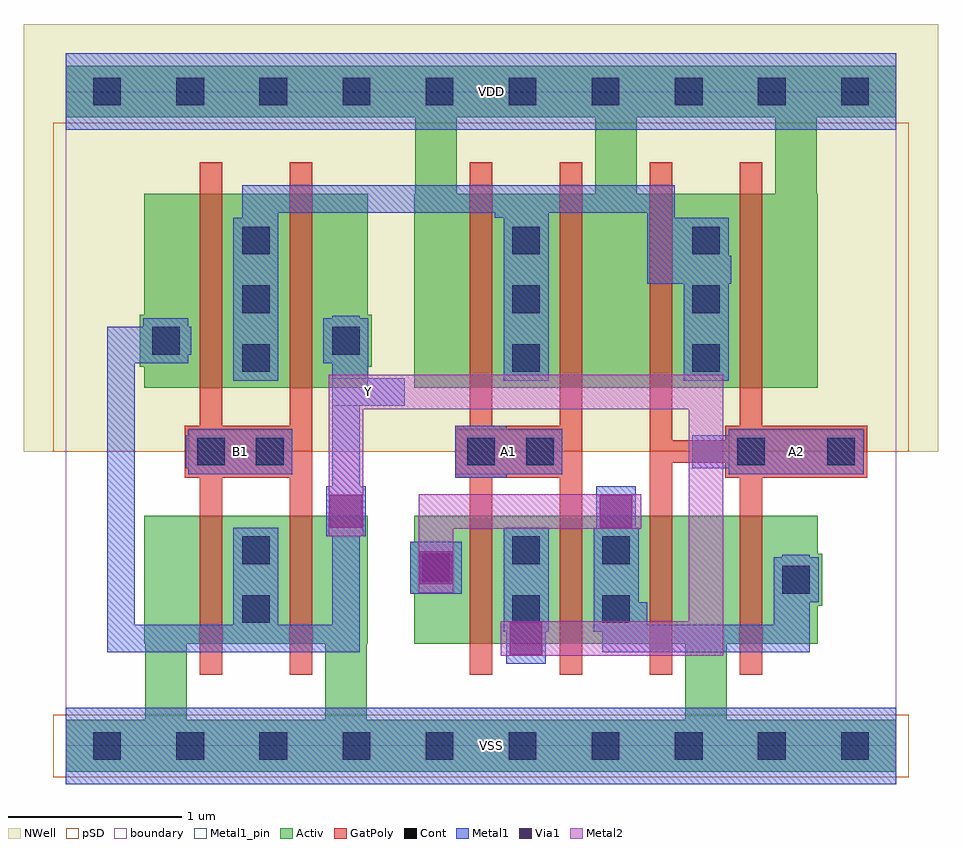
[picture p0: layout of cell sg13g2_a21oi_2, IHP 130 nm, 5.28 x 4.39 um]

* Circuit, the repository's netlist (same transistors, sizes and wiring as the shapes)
.SUBCKT sg13g2_a21oi_2 Y A1 A2 B1 VDD VSS
*.PININFO A1:I A2:I B1:I Y:O VDD:B VSS:B
MN0 Y B1 VSS VSS sg13_lv_nmos w=1.48u l=130.00n ng=2
MN2 net2 A2 VSS VSS sg13_lv_nmos w=1.48u l=130.00n ng=2
MN1 Y A1 net2 VSS sg13_lv_nmos w=1.48u l=130.00n ng=2
MP2 Y B1 net1 VDD sg13_lv_pmos w=2.24u l=130.00n ng=2
MP1 net1 A2 VDD VDD sg13_lv_pmos w=2.24u l=130.00n ng=2
MP0 net1 A1 VDD VDD sg13_lv_pmos w=2.24u l=130.00n ng=2
.ENDS

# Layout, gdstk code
import gdstk
lib = gdstk.Library(unit=1e-6, precision=1e-09)
def R(c, l, rs):  # rectangles x0, y0, x1, y1
    for r in rs: c.add(gdstk.rectangle(r[:2], r[2:], *l))
def A(c, l, x, y, w, h, nx, ny, dx, dy):  # array of equal rectangles
    R(c, l, [(x+i*dx, y+j*dy, x+i*dx+w, y+j*dy+h) for i in range(nx) for j in range(ny)])
def P(c, l, *ps):  # polygons
    for p in ps: c.add(gdstk.Polygon(p, *l))
Activ = (1, 0)
GatPoly = (5, 0)
Cont = (6, 0)
Metal1 = (8, 0)
Metal1_pin = (8, 2)
Metal2 = (10, 0)
pSD = (14, 0)
Via1 = (19, 0)
NWell = (31, 0)
boundary = (189, 4)

sg13g2_a21oi_2 = lib.new_cell('sg13g2_a21oi_2')
P(sg13g2_a21oi_2, Activ, [(0.7,0.59),(0.7,1.33),(0.455,1.33),(0.455,0.59),(0.46,0.59),(0.46,0.15),(0,0.15),(0,-0.15),(0.7,-0.15),(0.7,0.59),(1.5,0.59),(1.5,0.15),(0.7,0.15),(0.7,-0.15),(4.8,-0.15),(4.8,0.15),(3.82,0.15),(3.82,0.59),(4.345,0.59),(4.345,0.81),(4.37,0.81),(4.37,1.11),(4.345,1.11),(4.345,1.33),(2.015,1.33),(2.015,1.18),(1.99,1.18),(1.99,0.88),(2.015,0.88),(2.015,0.59),(3.58,0.59),(3.58,0.15),(1.74,0.15),(1.74,0.59),(1.745,0.59),(1.745,1.33),(0.7,1.33)],
  [(2.02,3.19),(2.26,3.19),(2.26,3.63),(3.06,3.63),(3.06,3.19),(3.3,3.19),(3.3,3.63),(4.1,3.63),(4.1,3.19),(4.34,3.19),(4.34,3.63),(4.8,3.63),(4.8,3.93),(0,3.93),(0,3.63),(2.02,3.63),(2.02,3.19),(2.015,3.19),(2.015,2.07),(4.345,2.07),(4.345,3.19)],
  [(0.43,2.19),(0.455,2.19),(0.455,2.07),(1.745,2.07),(1.745,2.19),(1.77,2.19),(1.77,2.49),(1.745,2.49),(1.745,3.19),(0.455,3.19),(0.455,2.49),(0.43,2.49)])
P(sg13g2_a21oi_2, GatPoly, [(0.69,1.55),(0.775,1.55),(0.775,0.41),(0.905,0.41),(0.905,1.55),(1.295,1.55),(1.295,0.41),(1.425,0.41),(1.425,3.37),(1.295,3.37),(1.295,1.85),(0.905,1.85),(0.905,3.37),(0.775,3.37),(0.775,1.85),(0.69,1.85)],
  [(2.25,1.55),(2.335,1.55),(2.335,0.41),(2.465,0.41),(2.465,1.55),(2.855,1.55),(2.855,0.41),(2.985,0.41),(2.985,3.37),(2.855,3.37),(2.855,1.85),(2.465,1.85),(2.465,3.37),(2.335,3.37),(2.335,1.85),(2.25,1.85)],
  [(3.375,0.41),(3.505,0.41),(3.505,1.635),(3.81,1.635),(3.81,1.55),(3.895,1.55),(3.895,0.41),(4.025,0.41),(4.025,1.55),(4.63,1.55),(4.63,1.85),(4.025,1.85),(4.025,3.37),(3.895,3.37),(3.895,1.85),(3.81,1.85),(3.81,1.765),(3.505,1.765),(3.505,3.37),(3.375,3.37)])
A(sg13g2_a21oi_2, Cont, 0.16, -0.08, 0.16, 0.16, 10, 2, 0.48, 3.78)
A(sg13g2_a21oi_2, Cont, 1.02, 2.16, 0.16, 0.16, 1, 3, 0, 0.34)
A(sg13g2_a21oi_2, Cont, 2.58, 2.16, 0.16, 0.16, 1, 3, 0, 0.34)
A(sg13g2_a21oi_2, Cont, 3.62, 2.16, 0.16, 0.16, 1, 3, 0, 0.34)
R(sg13g2_a21oi_2, Cont, [(1.02,0.71,1.18,0.87), (2.58,0.71,2.74,0.87), (3.1,0.71,3.26,0.87), (4.14,0.88,4.3,1.04), (2.06,0.95,2.22,1.11), (1.02,1.05,1.18,1.21), (2.58,1.05,2.74,1.21), (3.1,1.05,3.26,1.21), (0.76,1.62,0.92,1.78), (1.1,1.62,1.26,1.78), (2.32,1.62,2.48,1.78), (2.66,1.62,2.82,1.78), (3.88,1.62,4.04,1.78), (4.4,1.62,4.56,1.78), (0.5,2.26,0.66,2.42), (1.54,2.26,1.7,2.42)])
R(sg13g2_a21oi_2, Metal1, [(0,-0.22,4.8,0.22), (1.99,0.88,2.29,1.18), (0,3.56,4.8,4)])
P(sg13g2_a21oi_2, Metal1, [(0.24,0.54),(1.7,0.54),(1.7,1.21),(1.735,1.21),(1.735,1.5),(1.7,1.5),(1.7,1.965),(1.96,1.965),(1.96,2.125),(1.75,2.125),(1.75,2.47),(1.7,2.47),(1.7,2.485),(1.54,2.485),(1.54,2.47),(1.49,2.47),(1.49,2.21),(1.54,2.21),(1.54,1.5),(1.505,1.5),(1.505,1.21),(1.54,1.21),(1.54,0.7),(1.23,0.7),(1.23,1.26),(0.97,1.26),(0.97,0.7),(0.4,0.7),(0.4,2.21),(0.71,2.21),(0.71,2.26),(0.725,2.26),(0.725,2.42),(0.71,2.42),(0.71,2.47),(0.45,2.47),(0.45,2.42),(0.24,2.42)],
  [(0.695,1.605),(0.71,1.605),(0.71,1.57),(1.31,1.57),(1.31,1.83),(0.71,1.83),(0.71,1.795),(0.695,1.795)],
  [(0.97,2.11),(1.23,2.11),(1.23,3.08),(2.48,3.08),(2.48,3.05),(2.53,3.05),(2.53,2.11),(2.79,2.11),(2.79,3.08),(3.36,3.08),(3.36,2.67),(3.57,2.67),(3.57,2.11),(3.83,2.11),(3.83,2.67),(3.845,2.67),(3.845,2.83),(3.83,2.83),(3.83,3.05),(3.52,3.05),(3.52,3.24),(1.02,3.24),(1.02,3.05),(0.97,3.05)],
  [(2.25,1.55),(2.55,1.55),(2.55,1.57),(2.87,1.57),(2.87,1.83),(2.55,1.83),(2.55,1.85),(2.25,1.85)],
  [(2.53,0.66),(2.545,0.66),(2.545,0.475),(2.775,0.475),(2.775,0.66),(2.79,0.66),(2.79,1.26),(2.53,1.26)],
  [(3.05,0.66),(3.1,0.66),(3.1,0.54),(4.3,0.54),(4.3,0.83),(4.35,0.83),(4.35,1.09),(4.3,1.09),(4.3,1.105),(4.14,1.105),(4.14,1.09),(4.09,1.09),(4.09,0.7),(3.36,0.7),(3.36,0.83),(3.31,0.83),(3.31,1.26),(3.295,1.26),(3.295,1.5),(3.065,1.5),(3.065,1.26),(3.05,1.26)],
  [(3.62,1.605),(3.83,1.605),(3.83,1.57),(4.61,1.57),(4.61,1.83),(3.83,1.83),(3.83,1.795),(3.62,1.795)])
R(sg13g2_a21oi_2, Metal1_pin, [(0,-0.22,4.8,0.22), (0.71,1.57,1.31,1.83), (2.25,1.57,2.87,1.83), (3.83,1.57,4.61,1.83), (1.54,1.965,1.96,2.125), (0,3.56,4.8,4)])
P(sg13g2_a21oi_2, Metal2, [(1.52,1.21),(1.72,1.21),(1.72,1.945),(3.6,1.945),(3.6,0.72),(2.515,0.72),(2.515,0.52),(3.8,0.52),(3.8,2.145),(1.52,2.145)],
  [(2.04,0.885),(2.24,0.885),(2.24,1.255),(3.325,1.255),(3.325,1.455),(2.04,1.455)])
R(sg13g2_a21oi_2, pSD, [(-0.07,-0.18,4.87,0.18), (-0.07,1.7,4.87,3.6)])
R(sg13g2_a21oi_2, Via1, [(2.565,0.525,2.755,0.715), (2.045,0.935,2.235,1.125), (1.525,1.26,1.715,1.45), (3.085,1.26,3.275,1.45)])
R(sg13g2_a21oi_2, NWell, [(-0.24,1.7,5.04,4.17)])
R(sg13g2_a21oi_2, boundary, [(0,0,4.8,3.78)])
sg13g2_a21oi_2.add(gdstk.Label('Y', (1.75,2.045), layer=8, texttype=25))
sg13g2_a21oi_2.add(gdstk.Label('B1', (1.01,1.7), layer=8, texttype=25))
sg13g2_a21oi_2.add(gdstk.Label('A1', (2.56,1.7), layer=8, texttype=25))
sg13g2_a21oi_2.add(gdstk.Label('A2', (4.22,1.7), layer=8, texttype=25))
sg13g2_a21oi_2.add(gdstk.Label('VSS', (2.46,0), layer=8, texttype=25))
sg13g2_a21oi_2.add(gdstk.Label('VDD', (2.46,3.78), layer=8, texttype=25))

lib.write_gds('sg13g2_a21oi_2.gds')
